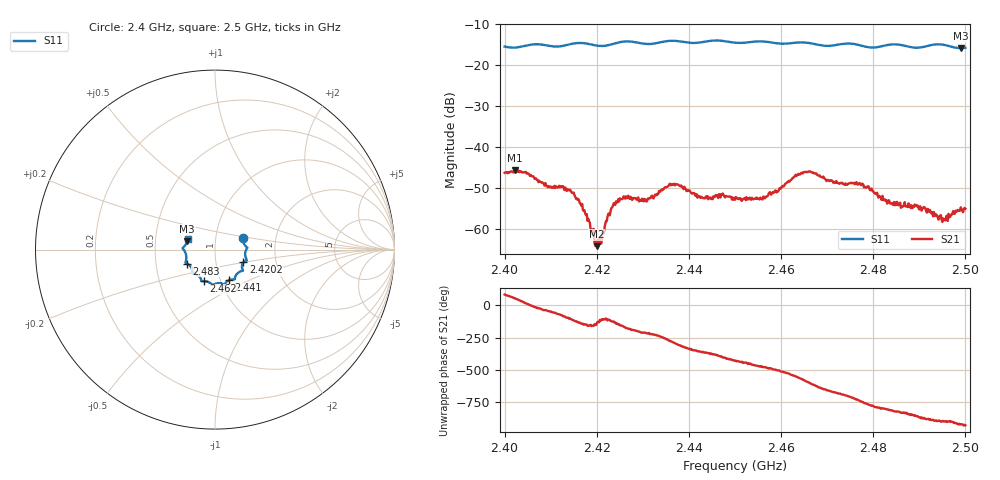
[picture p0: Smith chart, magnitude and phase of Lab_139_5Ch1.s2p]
# Hz S RI R 50
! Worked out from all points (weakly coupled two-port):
!   601 points, 2.4 GHz to 2.5 GHz, reference 50 ohm
!   highest |S21| = -45.70 dB at 2.4022 GHz (marker M1); lowest = -64.3 dB at 2.42 GHz (marker M2)
!   lowest |S11| = -15.8 dB at 2.499 GHz (marker M3), VSWR 1.38, Z = 36.5 + j3.47 ohm
!   |S11| at or under -10 dB: start of sweep to end of sweep
!   S12 and S22 are empty: the file has one direction only
!   S11 on the Smith chart (normalised r, x): 2.4 GHz: 1.36, +0.18; 2.4202 GHz: 1.36, -0.20; 2.441 GHz: 1.10, -0.39; 2.462 GHz: 0.84, -0.30; 2.483 GHz: 0.72, -0.11; 2.5 GHz: 0.73, +0.09
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2.4e9  0.1573 0.0628  0.000479 0.0048  0 0  0 0
2.402167e9  0.1601 0.0367  0.00284 0.00434  0 0  0 0
2.414167e9  0.1738 -0.0497  -0.000591 -0.00294  0 0  0 0
2.416667e9  0.1776 -0.0594  -0.00147 -0.0012  0 0  0 0
2.42e9  0.1594 -0.0696  -0.000461 -0.000399  0 0  0 0
2.420167e9  0.1582 -0.0708  -0.000446 -0.000576  0 0  0 0
2.424167e9  0.1526 -0.1074  -0.00167 -0.00135  0 0  0 0
2.433333e9  0.1128 -0.1508  -0.00153 0.00216  0 0  0 0
2.436833e9  0.1094 -0.1663  0.0013 0.00329  0 0  0 0
2.441e9  0.0785 -0.1701  0.00265 0.000595  0 0  0 0
2.45e9  0.0285 -0.1867  0.000765 -0.00213  0 0  0 0
2.456333e9  -0.0156 -0.1945  -0.00116 -0.0021  0 0  0 0
2.462e9  -0.0604 -0.1756  -0.00387 -0.000314  0 0  0 0
2.466667e9  -0.0771 -0.168  -0.00164 0.00461  0 0  0 0
2.472167e9  -0.1146 -0.1361  0.00273 0.00241  0 0  0 0
2.477333e9  -0.1252 -0.1213  0.00305 -0.00149  0 0  0 0
2.483e9  -0.1586 -0.0774  0.000176 -0.00202  0 0  0 0
2.483333e9  -0.1604 -0.0768  -2.12e-05 -0.00223  0 0  0 0
2.489333e9  -0.1608 -0.0318  -0.00148 -0.00127  0 0  0 0
2.495333e9  -0.1775 0.012  -0.00128 -1.65e-06  0 0  0 0
2.499e9  -0.1545 0.0463  -0.0017 0.000656  0 0  0 0
2.5e9  -0.1518 0.0611  -0.00151 0.000883  0 0  0 0
